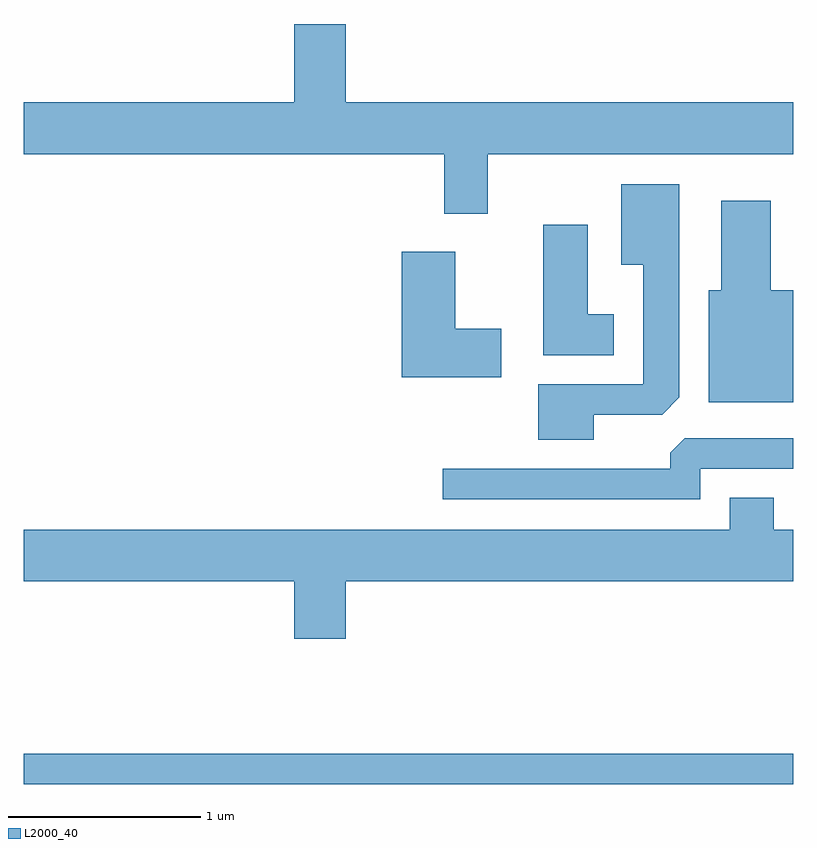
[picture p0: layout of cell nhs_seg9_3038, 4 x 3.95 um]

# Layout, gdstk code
import gdstk
lib = gdstk.Library(unit=1e-6, precision=1e-09)
def R(c, l, rs):  # rectangles x0, y0, x1, y1
    for r in rs: c.add(gdstk.rectangle(r[:2], r[2:], *l))
def P(c, l, *ps):  # polygons
    for p in ps: c.add(gdstk.Polygon(p, *l))
L2000_40 = (2000, 40)

nhs_seg9_3038 = lib.new_cell('nhs_seg9_3038')
R(nhs_seg9_3038, L2000_40, [(273.611,2048.481,277.611,2048.639)])
P(nhs_seg9_3038, L2000_40, [(276.024,2051.756),(277.611,2051.756),(277.611,2052.024),(275.284,2052.024),(275.284,2052.432),(275.016,2052.432),(275.016,2052.024),(273.611,2052.024),(273.611,2051.756),(275.796,2051.756),(275.796,2051.446),(276.024,2051.446)],
  [(276.574,2050.401),(276.929,2050.401),(277.019,2050.492),(277.019,2051.599),(276.716,2051.599),(276.716,2051.181),(276.831,2051.181),(276.831,2050.559),(276.286,2050.559),(276.286,2050.271),(276.574,2050.271)],
  [(277.611,2051.049),(277.494,2051.049),(277.494,2051.514),(277.236,2051.514),(277.236,2051.049),(277.171,2051.049),(277.171,2050.466),(277.611,2050.466)],
  [(276.679,2050.924),(276.544,2050.924),(276.544,2051.389),(276.311,2051.389),(276.311,2050.711),(276.679,2050.711)],
  [(276.094,2050.849),(275.854,2050.849),(275.854,2051.249),(275.576,2051.249),(275.576,2050.596),(276.094,2050.596)],
  [(277.129,2050.121),(277.611,2050.121),(277.611,2050.279),(277.047,2050.279),(276.971,2050.204),(276.971,2050.119),(275.788,2050.119),(275.788,2049.961),(277.129,2049.961)],
  [(275.284,2049.536),(277.611,2049.536),(277.611,2049.804),(277.509,2049.804),(277.509,2049.969),(277.281,2049.969),(277.281,2049.804),(273.611,2049.804),(273.611,2049.536),(275.016,2049.536),(275.016,2049.236),(275.284,2049.236)])

lib.write_gds('nhs_seg9_3038.gds')
